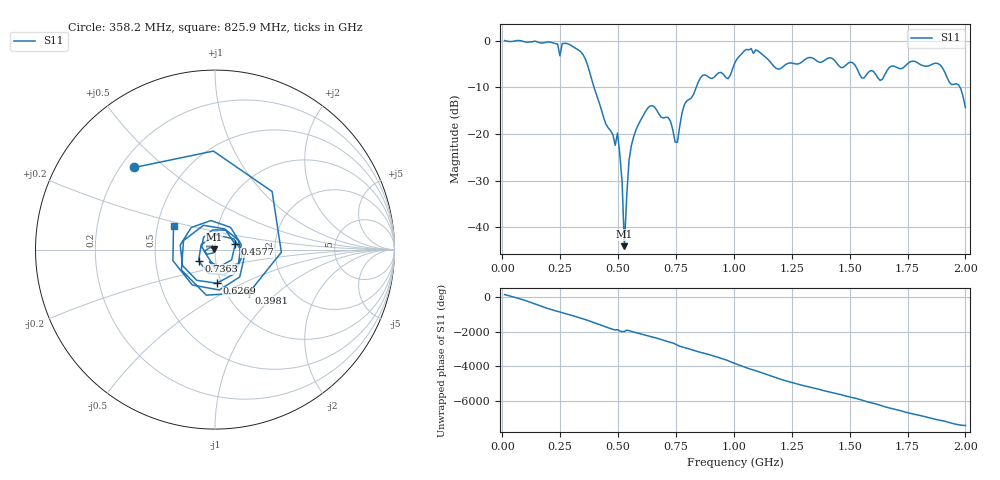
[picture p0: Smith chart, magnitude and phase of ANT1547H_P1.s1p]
!Created with skrf (http://scikit-rf.org).
# Hz S RI R 50.0
!freq ReS11 ImS11
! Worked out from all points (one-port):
!   201 points, 10 MHz to 2 GHz, reference 50 ohm
!   lowest |S11| = -44.1 dB at 527.4 MHz (marker M1), VSWR 1.01, Z = 49.4 + j0.181 ohm
!   |S11| at or under -10 dB: 396.3 MHz to 837.6 MHz (441.3 MHz wide, 71.5 % of centre); 1.977 GHz to end of sweep
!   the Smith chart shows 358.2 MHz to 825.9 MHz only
!   S11 on the Smith chart (normalised r, x): 358.2 MHz: 0.25, +0.40; 398.1 MHz: 1.27, -0.67; 457.8 MHz: 1.25, +0.08; 626.9 MHz: 0.95, -0.37; 736.4 MHz: 0.83, -0.10; 825.9 MHz: 0.61, +0.17
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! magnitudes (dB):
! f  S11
! 10 MHz  0.1
! 248.8 MHz  -3.2
! 258.8 MHz  -0.6
! 358.2 MHz  -3.9
! 398.1 MHz  -10.3
! 457.8 MHz  -18.7
! 487.6 MHz  -22.4
! 497.6 MHz  -19.8
! 507.5 MHz  -24.3
! 517.5 MHz  -30.3
! 527.4 MHz  -44.1
! 547.3 MHz  -25.7
! 557.2 MHz  -22.5
! 626.9 MHz  -14.5
! 736.4 MHz  -19.1
! 756.2 MHz  -21.8
! 786.1 MHz  -13.7
! 825.9 MHz  -11.5
! 865.7 MHz  -7.4
! 975.1 MHz  -8.1
! 1.005 GHz  -4.7
! 1.075 GHz  -1.7
! 1.254 GHz  -4.8
! 1.502 GHz  -4.6
! 1.632 GHz  -8.5
! 1.751 GHz  -4.9
! 1.891 GHz  -5.2
! 2 GHz  -14.3
